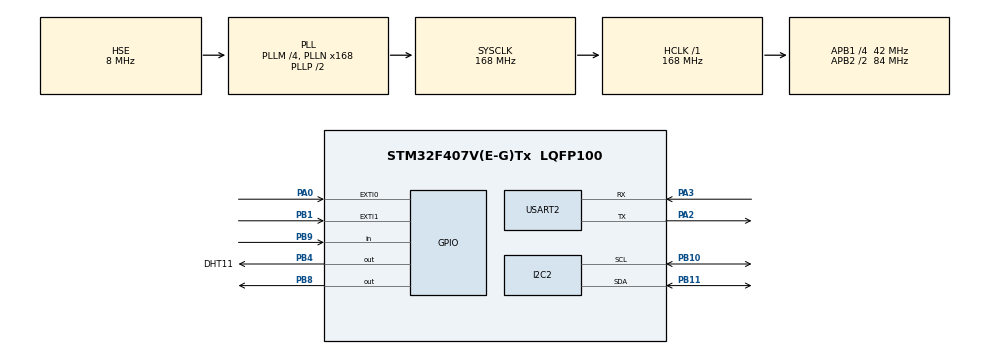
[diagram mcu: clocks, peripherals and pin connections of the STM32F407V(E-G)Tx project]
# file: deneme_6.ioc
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Dma.Request0=USART2_TX
Dma.USART2_TX.0.Direction=DMA_MEMORY_TO_PERIPH
Dma.USART2_TX.0.FIFOMode=DMA_FIFOMODE_DISABLE
Dma.USART2_TX.0.Instance=DMA1_Stream6
Dma.USART2_TX.0.MemDataAlignment=DMA_MDATAALIGN_BYTE
Dma.USART2_TX.0.MemInc=DMA_MINC_ENABLE
Dma.USART2_TX.0.Mode=DMA_NORMAL
Dma.USART2_TX.0.PeriphDataAlignment=DMA_PDATAALIGN_BYTE
Dma.USART2_TX.0.PeriphInc=DMA_PINC_DISABLE
Dma.USART2_TX.0.Priority=DMA_PRIORITY_LOW
Mcu.Family=STM32F4
Mcu.Name=STM32F407V(E-G)Tx
Mcu.Package=LQFP100
NVIC.DMA1_Stream6_IRQn=true\:0\:0\:false\:false\:true\:false\:true\:true
NVIC.EXTI0_IRQn=true\:0\:0\:false\:false\:true\:true\:true\:true
NVIC.EXTI1_IRQn=true\:0\:0\:false\:false\:true\:true\:true\:true
NVIC.PriorityGroup=NVIC_PRIORITYGROUP_4
NVIC.TIM2_IRQn=true\:0\:0\:false\:false\:true\:true\:true\:true
NVIC.USART2_IRQn=true\:0\:0\:false\:false\:true\:true\:true\:true
PA0-WKUP.GPIO_PuPd=GPIO_PULLDOWN
PA0-WKUP.Signal=GPXTI0
PA13.Mode=Serial_Wire
PA13.Signal=SYS_JTMS-SWDIO
PA14.Mode=Serial_Wire
PA14.Signal=SYS_JTCK-SWCLK
PA2.Mode=Asynchronous
PA2.Signal=USART2_TX
PA3.Mode=Asynchronous
PA3.Signal=USART2_RX
PB1.Signal=GPXTI1
PB10.GPIO_Pu=GPIO_PULLUP
PB10.Mode=I2C
PB10.Signal=I2C2_SCL
PB11.GPIO_Pu=GPIO_PULLUP
PB11.Mode=I2C
PB11.Signal=I2C2_SDA
PB4.GPIO_Label=DHT11
PB4.Signal=GPIO_Output
PB8.Signal=GPIO_Output
PB9.Signal=GPIO_Input
PH0-OSC_IN.Mode=HSE-External-Oscillator
PH0-OSC_IN.Signal=RCC_OSC_IN
PH1-OSC_OUT.Mode=HSE-External-Oscillator
PH1-OSC_OUT.Signal=RCC_OSC_OUT
ProjectManager.HeapSize=0x200
ProjectManager.StackSize=0x400
ProjectManager.TargetToolchain=STM32CubeIDE
RCC.48MHZClocksFreq_Value=84000000
RCC.AHBFreq_Value=168000000
RCC.APB1CLKDivider=RCC_HCLK_DIV4
RCC.APB1Freq_Value=42000000
RCC.APB1TimFreq_Value=84000000
RCC.APB2CLKDivider=RCC_HCLK_DIV2
RCC.APB2Freq_Value=84000000
RCC.APB2TimFreq_Value=168000000
RCC.CortexFreq_Value=168000000
RCC.HCLKFreq_Value=168000000
RCC.HSE_VALUE=8000000
RCC.HSI_VALUE=16000000
RCC.LSE_VALUE=32768
RCC.PLLM=4
RCC.PLLN=168
RCC.PLLSourceVirtual=RCC_PLLSOURCE_HSE
RCC.SYSCLKFreq_VALUE=168000000
RCC.SYSCLKSource=RCC_SYSCLKSOURCE_PLLCLK
RCC.VCOOutputFreq_Value=336000000
TIM2.Period=99999
TIM2.Prescaler=8400-1
USART2.VirtualMode=VM_ASYNC
VP_TIM2_VS_ClockSourceINT.Mode=Internal
board=custom

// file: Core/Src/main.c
/* USER CODE BEGIN Header */
/**
 ******************************************************************************
 * @file           : main.c
 * @brief          : Main program body
 ******************************************************************************
 * @attention
 *
 * Copyright (c) 2025 STMicroelectronics.
 * All rights reserved.
 *
 * This software is licensed under terms that can be found in the LICENSE file
 * in the root directory of this software component.
 * If no LICENSE file comes with this software, it is provided AS-IS.
 *
 ******************************************************************************
 */
/* USER CODE END Header */
#include "main.h"
#include "dma.h"
#include "i2c.h"
#include "tim.h"
#include "usart.h"
#include "gpio.h"

/* USER CODE BEGIN Includes */
#include "mpu6050.h"
#include <stdio.h>
#include <string.h>
#include <stdint.h>

/* USER CODE END Includes */

/* USER CODE BEGIN PV */
MPU6050_t mpu6050;
volatile uint8_t uart_ready = 1;
volatile uint8_t measurement_active = 0;
char uart_buffer[200];

/* USER CODE END PV */

void SystemClock_Config(void);
/* USER CODE BEGIN PFP */
void Send_MPU6050_Data_DMA(MPU6050_t *data);

/* USER CODE END PFP */

/* USER CODE BEGIN 0 */
void HAL_UART_TxCpltCallback(UART_HandleTypeDef *huart) {
	if (huart->Instance == USART2) {
		uart_ready = 1;
	}
}
void HAL_GPIO_EXTI_Callback(uint16_t GPIO_Pin) {
	if (GPIO_Pin == GPIO_PIN_0) {
		if (measurement_active == 0)
				{
			measurement_active = 1;
			HAL_TIM_Base_Start_IT(&htim2);

			HAL_UART_Transmit(&huart2, (uint8_t*) "Measurement started\r\n",
					strlen("Measurement started\r\n"), HAL_MAX_DELAY);
		}
	}
}

void HAL_TIM_PeriodElapsedCallback(TIM_HandleTypeDef *htim) {
	if (htim->Instance == TIM2) {
		measurement_active = 0;
		HAL_TIM_Base_Stop_IT(&htim2);

		if (uart_ready) {
			uart_ready = 0;
			const char *msg = "Measurement stopped after 10 seconds\r\n";
			HAL_UART_Transmit_DMA(&huart2, (uint8_t*) msg, strlen(msg));
		}
	}

}

void Send_MPU6050_Data_DMA(MPU6050_t *data) {
	if (uart_ready && measurement_active) {
		uart_ready = 0;

		// UART mesajını oluştur
		int length = snprintf(uart_buffer, sizeof(uart_buffer),
				"A:x:%.2f,y:%.2f,z:%.2f G:x:%.2f,y:%.2f,z:%.2f\r\n", data->Ax, data->Ay,
				data->Az, data->Gx, data->Gy, data->Gz);

		// Veriyi UART üzerinden DMA ile gönder
		if (length > 0) {
			HAL_UART_Transmit_DMA(&huart2, (uint8_t*) uart_buffer, length);
		}
	}
}

/* USER CODE END 0 */

int main(void)
{

  /* MCU Configuration--------------------------------------------------------*/

  /* Reset of all peripherals, Initializes the Flash interface and the Systick. */
  HAL_Init();

  /* Configure the system clock */
  SystemClock_Config();

  /* Initialize all configured peripherals */
  MX_GPIO_Init();
  MX_DMA_Init();
  MX_I2C2_Init();
  MX_USART2_UART_Init();
  MX_TIM2_Init();
  /* USER CODE BEGIN 2 */
	MPU6050_Init(&hi2c2);

	// MPU6050 INT konfigürasyonu
	uint8_t int_pin_cfg = 0x10; // INT pinini data ready için etkinleştir
	HAL_I2C_Mem_Write(&hi2c2, MPU6050_ADDR, 0x37, 1, &int_pin_cfg, 1, 100);

	uint8_t int_enable = 0x01; // Data Ready Interrupt'ı etkinleştir
	HAL_I2C_Mem_Write(&hi2c2, MPU6050_ADDR, 0x38, 1, &int_enable, 1, 100);

	HAL_Delay(100);

//	char *msg = "STM32 test mesajı\r\n";
//	HAL_UART_Transmit_DMA(&huart2, (uint8_t*) msg, strlen(msg));

  /* USER CODE END 2 */

  /* Infinite loop */
  /* USER CODE BEGIN WHILE */
	while (1) {
		if (measurement_active) {
			MPU6050_Read_All(&hi2c2, &mpu6050);
			Send_MPU6050_Data_DMA(&mpu6050);
		}
		HAL_Delay(300); // 100ms'de bir kontrol et
    /* USER CODE END WHILE */

	}
}

void SystemClock_Config(void)
{
  RCC_OscInitTypeDef RCC_OscInitStruct = {0};
  RCC_ClkInitTypeDef RCC_ClkInitStruct = {0};

  /** Configure the main internal regulator output voltage
  */
  __HAL_RCC_PWR_CLK_ENABLE();
  __HAL_PWR_VOLTAGESCALING_CONFIG(PWR_REGULATOR_VOLTAGE_SCALE1);

  /** Initializes the RCC Oscillators according to the specified parameters
  * in the RCC_OscInitTypeDef structure.
  */
  RCC_OscInitStruct.OscillatorType = RCC_OSCILLATORTYPE_HSE;
  RCC_OscInitStruct.HSEState = RCC_HSE_ON;
  RCC_OscInitStruct.PLL.PLLState = RCC_PLL_ON;
  RCC_OscInitStruct.PLL.PLLSource = RCC_PLLSOURCE_HSE;
  RCC_OscInitStruct.PLL.PLLM = 4;
  RCC_OscInitStruct.PLL.PLLN = 168;
  RCC_OscInitStruct.PLL.PLLP = RCC_PLLP_DIV2;
  RCC_OscInitStruct.PLL.PLLQ = 4;
  if (HAL_RCC_OscConfig(&RCC_OscInitStruct) != HAL_OK)
  {
    Error_Handler();
  }

  /** Initializes the CPU, AHB and APB buses clocks
  */
  RCC_ClkInitStruct.ClockType = RCC_CLOCKTYPE_HCLK|RCC_CLOCKTYPE_SYSCLK
                              |RCC_CLOCKTYPE_PCLK1|RCC_CLOCKTYPE_PCLK2;
  RCC_ClkInitStruct.SYSCLKSource = RCC_SYSCLKSOURCE_PLLCLK;
  RCC_ClkInitStruct.AHBCLKDivider = RCC_SYSCLK_DIV1;
  RCC_ClkInitStruct.APB1CLKDivider = RCC_HCLK_DIV4;
  RCC_ClkInitStruct.APB2CLKDivider = RCC_HCLK_DIV2;

  if (HAL_RCC_ClockConfig(&RCC_ClkInitStruct, FLASH_LATENCY_5) != HAL_OK)
  {
    Error_Handler();
  }
}

void Error_Handler(void)
{
	__disable_irq();
	while (1) {
	}
}
